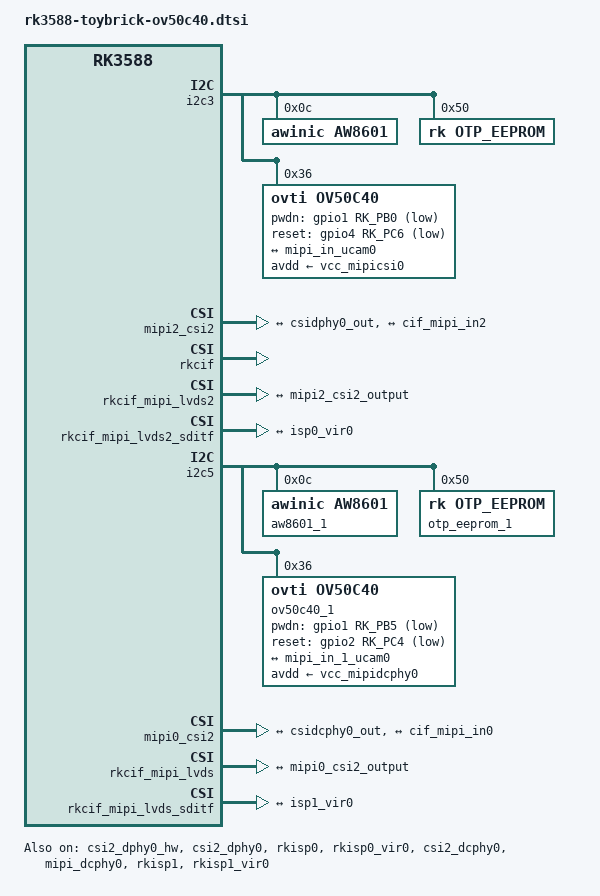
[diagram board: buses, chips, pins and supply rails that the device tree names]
// SPDX-License-Identifier: (GPL-2.0+ OR MIT)
/*
 * Copyright (c) 2021 Rockchip Electronics Co., Ltd.
 *
 */
&csi2_dphy0_hw {
	status = "okay";
};

&csi2_dphy0 {
	status = "okay";
	ports {
		#address-cells = <1>;
		#size-cells = <0>;
		port@0 {
			reg = <0>;
			#address-cells = <1>;
			#size-cells = <0>;
			mipi_in_ucam0: endpoint@1 {
				reg = <1>;
				remote-endpoint = <&ucam_out0>;
				data-lanes = <1 2 3 4>;
			};
		};
		port@1 {
			reg = <1>;
			#address-cells = <1>;
			#size-cells = <0>;
			csidphy0_out: endpoint@0 {
				reg = <0>;
				remote-endpoint = <&mipi2_csi2_input>;
			};
		};
	};
};

&i2c3 {
	status = "okay";
	aw8601: aw8601@c {
		compatible = "awinic,aw8601";
		status = "okay";
		reg = <0x0c>;
		rockchip,vcm-start-current = <56>;
		rockchip,vcm-rated-current = <96>;
		rockchip,vcm-step-mode = <4>;
		rockchip,camera-module-index = <0>;
		rockchip,camera-module-facing = "back";
	};

	otp_eeprom: otp_eeprom@50 {
		compatible = "rk,otp_eeprom";
		status = "okay";
		reg = <0x50>;
	};

	ov50c40: ov50c40@36 {
		compatible = "ovti,ov50c40";
		reg = <0x36>;
		clocks = <&cru CLK_MIPI_CAMARAOUT_M3>;
		clock-names = "xvclk";
		pinctrl-names = "default";
		pinctrl-0 = <&mipim0_camera3_clk>;
		power-domains = <&power RK3588_PD_VI>;
		avdd-supply = <&vcc_mipicsi0>;
		pwdn-gpios = <&gpio1 RK_PB0 GPIO_ACTIVE_LOW>;
		reset-gpios = <&gpio4 RK_PC6 GPIO_ACTIVE_LOW>;
		rockchip,camera-module-index = <0>;
		rockchip,camera-module-facing = "back";
		rockchip,camera-module-name = "HZGA06";
		rockchip,camera-module-lens-name = "ZE0082C1";
		eeprom-ctrl = <&otp_eeprom>;
		lens-focus = <&aw8601>;
		port {
			ucam_out0: endpoint {
				remote-endpoint = <&mipi_in_ucam0>;
				data-lanes = <1 2 3 4>;
			};
		};
	};
};

&mipi2_csi2 {
	status = "okay";
	ports {
		#address-cells = <1>;
		#size-cells = <0>;
		port@0 {
			reg = <0>;
			#address-cells = <1>;
			#size-cells = <0>;
			mipi2_csi2_input: endpoint@1 {
				reg = <1>;
				remote-endpoint = <&csidphy0_out>;
			};
		};
		port@1 {
			reg = <1>;
			#address-cells = <1>;
			#size-cells = <0>;
			mipi2_csi2_output: endpoint@0 {
				reg = <0>;
				remote-endpoint = <&cif_mipi_in2>;
			};
		};
	};
};

&rkcif {
	status = "okay";
};

&rkcif_mipi_lvds2 {
	status = "okay";
	port {
		cif_mipi_in2: endpoint {
			remote-endpoint = <&mipi2_csi2_output>;
		};
	};
};

&rkcif_mipi_lvds2_sditf {
	status = "okay";
	port {
		mipi_lvds_sditf: endpoint {
			remote-endpoint = <&isp0_vir0>;
		};
	};
};

&rkcif_mmu {
	status = "okay";
};

&rkisp0 {
	status = "okay";
};

&isp0_mmu {
	status = "okay";
};

&rkisp0_vir0 {
	status = "okay";
	port {
		#address-cells = <1>;
		#size-cells = <0>;
		isp0_vir0: endpoint@0 {
			reg = <0>;
			remote-endpoint = <&mipi_lvds_sditf>;
		};
	};
};

&csi2_dcphy0 {
	status = "okay";
	ports {
		#address-cells = <1>;
		#size-cells = <0>;
		port@0 {
			reg = <0>;
			#address-cells = <1>;
			#size-cells = <0>;
			mipi_in_1_ucam0: endpoint@1 {
				reg = <1>;
				remote-endpoint = <&imx258_1_out0>;
				data-lanes = <1 2 3 4>;
			};
		};
		port@1 {
			reg = <1>;
			#address-cells = <1>;
			#size-cells = <0>;
			csidcphy0_out: endpoint@0 {
				reg = <0>;
				remote-endpoint = <&mipi0_csi2_input>;
			};
		};
	};
};

&i2c5 {
	status = "okay";
	aw8601_1: aw8601@c {
		compatible = "awinic,aw8601";
		status = "okay";
		reg = <0x0c>;
		rockchip,vcm-start-current = <56>;
		rockchip,vcm-rated-current = <96>;
		rockchip,vcm-step-mode = <4>;
		rockchip,camera-module-index = <0>;
		rockchip,camera-module-facing = "back";
	};

	otp_eeprom_1: otp_eeprom@50 {
		compatible = "rk,otp_eeprom";
		status = "okay";
		reg = <0x50>;
	};

	ov50c40_1: ov50c40_1@36 {
		compatible = "ovti,ov50c40";
		reg = <0x36>;
		clocks = <&cru CLK_MIPI_CAMARAOUT_M1>;
		clock-names = "xvclk";
		pinctrl-names = "default";
		pinctrl-0 = <&mipim0_camera1_clk>;
		power-domains = <&power RK3588_PD_VI>;
		avdd-supply = <&vcc_mipidcphy0>;
		pwdn-gpios = <&gpio1 RK_PB5 GPIO_ACTIVE_LOW>;
		reset-gpios = <&gpio2 RK_PC4 GPIO_ACTIVE_LOW>;
		rockchip,camera-module-index = <0>;
		rockchip,camera-module-facing = "front";
		rockchip,camera-module-name = "HZGA06";
		rockchip,camera-module-lens-name = "ZE0082C1";
		eeprom-ctrl = <&otp_eeprom_1>;
		lens-focus = <&aw8601_1>;
		port {
			imx258_1_out0: endpoint {
				remote-endpoint = <&mipi_in_1_ucam0>;
				data-lanes = <1 2 3 4>;
			};
		};
	};
};

// use dcphy0 isp1
&mipi_dcphy0 {
	status = "okay";
};

&mipi0_csi2 {
	status = "okay";
	ports {
		#address-cells = <1>;
		#size-cells = <0>;
		port@0 {
			reg = <0>;
			#address-cells = <1>;
			#size-cells = <0>;
			mipi0_csi2_input: endpoint@1 {
				reg = <1>;
				remote-endpoint = <&csidcphy0_out>;
			};
		};
		port@1 {
			reg = <1>;
			#address-cells = <1>;
			#size-cells = <0>;
			mipi0_csi2_output: endpoint@0 {
				reg = <0>;
				remote-endpoint = <&cif_mipi_in0>;
			};
		};
	};
};

&rkcif_mipi_lvds {
	status = "okay";
	port {
		cif_mipi_in0: endpoint {
			remote-endpoint = <&mipi0_csi2_output>;
		};
	};
};

#if 0

&rkcif_mipi_lvds_sditf {
	status = "okay";
	port {
		mipi_lvds_sditf_1: endpoint {
			remote-endpoint = <&isp0_vir1>;
		};
	};
};

&rkisp0_vir1 {
	status = "okay";

	port {
		#address-cells = <1>;
		#size-cells = <0>;

		isp0_vir1: endpoint@0 {
			reg = <0>;
			remote-endpoint = <&mipi_lvds_sditf_1>;
		};
	};
};

#endif

&rkisp1 {
	status = "okay";
};

&isp1_mmu {
	status = "okay";
};

&rkcif_mipi_lvds_sditf {
	status = "okay";

	port {
		mipi1_lvds_sditf: endpoint {
			remote-endpoint = <&isp1_vir0>;
		};
	};
};

&rkisp1_vir0 {
	status = "okay";

	port {
		#address-cells = <1>;
		#size-cells = <0>;

		isp1_vir0: endpoint@0 {
			reg = <0>;
			remote-endpoint = <&mipi1_lvds_sditf>;
		};
	};
};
